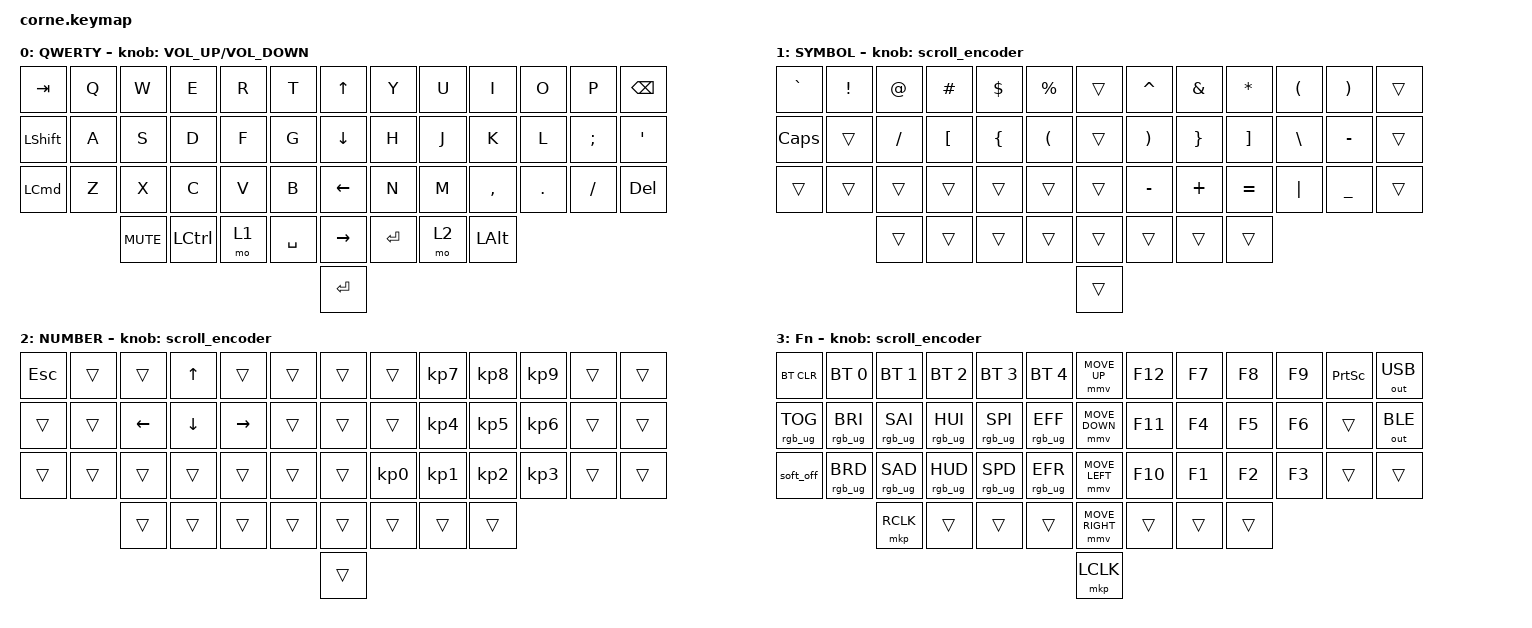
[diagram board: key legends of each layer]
#include <behaviors/mouse_keys.dtsi>
#include <behaviors.dtsi>
#include <dt-bindings/zmk/bt.h>
#include <dt-bindings/zmk/ext_power.h>
#include <dt-bindings/zmk/keys.h>
#include <dt-bindings/zmk/mouse.h>
#include <dt-bindings/zmk/outputs.h>
#include <dt-bindings/zmk/rgb.h>

#define ZMK_MOUSE_DEFAULT_MOVE_VAL 1200  // 600
#define ZMK_MOUSE_DEFAULT_SCRL_VAL 20    // 10
#define U_MS_U &mmv MOVE_UP
#define U_MS_D &mmv MOVE_DOWN
#define U_MS_L &mmv MOVE_LEFT
#define U_MS_R &mmv MOVE_RIGHT

/ {
    behaviors {
        mmv {
            acceleration-exponent = <1>;      // 1
            time-to-max-speed-ms = <900>;    // 40
            delay-ms = <0>;                   // 0
        };

        msc {
            acceleration-exponent = <1>;      // 0
            time-to-max-speed-ms = <400>;      // 500
            delay-ms = <0>;                   // 10
        };
    };

    rgb_encoder: rgb_encoder {
        compatible = "zmk,behavior-sensor-rotate";
        label = "RGB_ENCODER";
        #sensor-binding-cells = <0>;
        bindings = <&rgb_ug RGB_BRI>, <&rgb_ug RGB_BRD>;
    };

    scroll_encoder: scroll_encoder {
        compatible = "zmk,behavior-sensor-rotate";
        #sensor-binding-cells = <0>;
        bindings = <&msc SCRL_DOWN>, <&msc SCRL_UP>;

        tap-ms = <30>;
    };

    keymap {
        compatible = "zmk,keymap";

        default_layer {
            display-name = "QWERTY";

            // --------------------------------------------------------------------------------
            // |  TAB |  Q  |  W  |  E  |  R  |  T  |                ↑    |  Y  |  U   |  I  |  O  |  P  | BKSP |      &kp UP_ARROW 
            // | SHIFT |  A  |  S  |  D  |  F  |  G  |               ↓    |  H  |  J   |  K  |  L  |  ;  |  '   | 
            // | CTRL |  Z  |  X  |  C  |  V  |  B  |                ←    |  N  |  M   |  ,  |  .  |  /  | ESC  |
            //                    | GUI | LWR | SPC |                →    | ENT | RSE  | ALT |
            //                                                      enter

            bindings = <
&kp TAB         &kp Q  &kp W        &kp E         &kp R  &kp T        &kp UP_ARROW    &kp Y      &kp U  &kp I      &kp O       &kp P          &kp BACKSPACE
&kp LEFT_SHIFT  &kp A  &kp S        &kp D         &kp F  &kp G        &kp DOWN_ARROW  &kp H      &kp J  &kp K      &kp L       &kp SEMICOLON  &kp SQT
&kp LCMD        &kp Z  &kp X        &kp C         &kp V  &kp B        &kp LEFT_ARROW  &kp N      &kp M  &kp COMMA  &kp PERIOD  &kp SLASH      &kp DELETE
                       &kp C_MUTE   &kp LCTRL     &mo 1  &kp SPACE    &kp RIGHT_ARROW &kp ENTER  &mo 2  &kp LEFT_ALT
                                                                      &kp ENTER
            >;

            label = "QWERTY";
            sensor-bindings = <&inc_dec_kp C_VOLUME_UP C_VOLUME_DOWN>;
        };

        lower_layer {
            display-name = "SYMBOL";

            // -----------------------------------------------------------------------------------------
            // |  TAB |  1  |  2  |  3  |  4  |  5  |   |  6  |  7  |  8  |  9  |  0  | BKSP |
            // | BTCLR| BT1 | BT2 | BT3 | BT4 | BT5 |   | LFT | DWN |  UP | RGT |     |      |
            // | SHFT |     |     |     |     |     |   |     |     |     |     |     |      |
            //                    | GUI |     | SPC |   | ENT |     | ALT |

            bindings = <
&kp GRAVE     &kp EXCLAMATION  &kp AT_SIGN  &kp POUND         &kp DOLLAR      &kp PERCENT             &trans   &kp CARET              &kp AMPERSAND    &kp ASTRK          &kp LEFT_PARENTHESIS  &kp RIGHT_PARENTHESIS  &trans
&kp CAPSLOCK  &trans           &kp SLASH    &kp LEFT_BRACKET  &kp LEFT_BRACE  &kp LEFT_PARENTHESIS    &trans   &kp RIGHT_PARENTHESIS  &kp RIGHT_BRACE  &kp RIGHT_BRACKET  &kp BACKSLASH         &kp MINUS              &trans
&trans        &trans           &trans       &trans            &trans          &trans                  &trans   &kp MINUS              &kp PLUS         &kp EQUAL          &kp PIPE              &kp UNDERSCORE         &trans
                               &trans       &trans            &trans          &trans                  &trans   &trans                 &trans           &trans
                                                                                                      &trans
            >;

            label = "SYMBOL";
            sensor-bindings = <&scroll_encoder>;
        };

        upper_layer {
            display-name = "NUMBER";

            // -----------------------------------------------------------------------------------------
            // |  TAB |  !  |  @  |  #  |  $  |  %  |   |  ^  |  &  |  *  |  (  |  )  | BKSP |
            // | CTRL |     |     |     |     |     |   |  -  |  =  |  [  |  ]  |  \  |  `   |
            // | SHFT |     |     |     |     |     |   |  _  |  +  |  {  |  }  | "|" |  ~   |
            //                    | GUI |     | SPC |   | ENT |     | ALT |

            bindings = <
&kp ESCAPE  &trans  &trans          &kp UP_ARROW    &trans           &trans     &trans  &trans           &kp KP_NUMBER_7  &kp KP_NUMBER_8  &kp KP_NUMBER_9  &trans  &trans
&trans      &trans  &kp LEFT_ARROW  &kp DOWN_ARROW  &kp RIGHT_ARROW  &trans     &trans  &trans           &kp KP_NUMBER_4  &kp KP_NUMBER_5  &kp KP_NUMBER_6  &trans  &trans
&trans      &trans  &trans          &trans          &trans           &trans     &trans  &kp KP_NUMBER_0  &kp KP_NUMBER_1  &kp KP_NUMBER_2  &kp KP_NUMBER_3  &trans  &trans
                    &trans          &trans          &trans           &trans     &trans  &trans           &trans           &trans
                                                                                &trans
            >;

            label = "NUMBER";
            sensor-bindings = <&scroll_encoder>;
        };

        middle_layer {
            display-name = "Fn";
            bindings = <
&bt BT_CLR       &bt BT_SEL 0     &bt BT_SEL 1     &bt BT_SEL 2     &bt BT_SEL 3     &bt BT_SEL 4       &mmv MOVE_UP        &kp F12  &kp F7  &kp F8  &kp F9  &kp PRINTSCREEN  &out OUT_USB
&rgb_ug RGB_TOG  &rgb_ug RGB_BRI  &rgb_ug RGB_SAI  &rgb_ug RGB_HUI  &rgb_ug RGB_SPI  &rgb_ug RGB_EFF    &mmv MOVE_DOWN      &kp F11  &kp F4  &kp F5  &kp F6  &trans           &out OUT_BLE
&soft_off        &rgb_ug RGB_BRD  &rgb_ug RGB_SAD  &rgb_ug RGB_HUD  &rgb_ug RGB_SPD  &rgb_ug RGB_EFR    &mmv MOVE_LEFT      &kp F10  &kp F1  &kp F2  &kp F3  &trans           &trans
                                  &mkp RCLK        &trans           &trans           &trans             &mmv MOVE_RIGHT     &trans   &trans  &trans
                                                                                                        &mkp LCLK
            >;

            label = "FN";
            sensor-bindings = <&scroll_encoder>;
        };
    };

    conditional_layers {
        compatible = "zmk,conditional-layers";

        ACTIVATE_MIDDLE {
            if-layers = <1 2>;
            then-layer = <3>;
        };
    };
};
